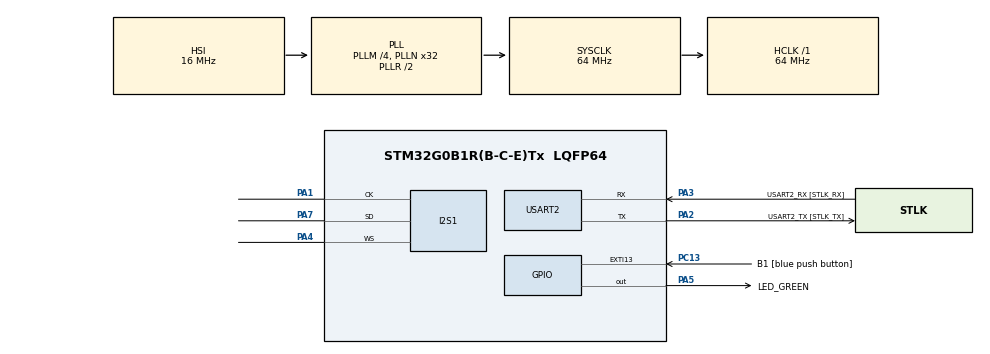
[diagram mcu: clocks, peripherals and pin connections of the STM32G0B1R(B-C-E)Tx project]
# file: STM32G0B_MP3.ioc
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Dma.Request0=SPI1_TX
Dma.SPI1_TX.0.Direction=DMA_MEMORY_TO_PERIPH
Dma.SPI1_TX.0.EventEnable=DISABLE
Dma.SPI1_TX.0.Instance=DMA1_Channel1
Dma.SPI1_TX.0.MemDataAlignment=DMA_MDATAALIGN_HALFWORD
Dma.SPI1_TX.0.MemInc=DMA_MINC_ENABLE
Dma.SPI1_TX.0.Mode=DMA_NORMAL
Dma.SPI1_TX.0.PeriphDataAlignment=DMA_PDATAALIGN_HALFWORD
Dma.SPI1_TX.0.PeriphInc=DMA_PINC_DISABLE
Dma.SPI1_TX.0.Polarity=HAL_DMAMUX_REQ_GEN_RISING
Dma.SPI1_TX.0.Priority=DMA_PRIORITY_MEDIUM
Dma.SPI1_TX.0.RequestNumber=1
Dma.SPI1_TX.0.SignalID=NONE
Dma.SPI1_TX.0.SyncEnable=DISABLE
Dma.SPI1_TX.0.SyncPolarity=HAL_DMAMUX_SYNC_NO_EVENT
Dma.SPI1_TX.0.SyncRequestNumber=1
Dma.SPI1_TX.0.SyncSignalID=NONE
I2S1.AudioFreq=I2S_AUDIOFREQ_44K
I2S1.ErrorAudioFreq=-0.1 %
I2S1.FullDuplexMode=I2S_FULLDUPLEXMODE_DISABLE
I2S1.Instance=SPI$Index
I2S1.RealAudioFreq=43.956 KHz
I2S1.VirtualMode=I2S_MODE_MASTER
Mcu.Family=STM32G0
Mcu.Name=STM32G0B1R(B-C-E)Tx
Mcu.Package=LQFP64
NVIC.DMA1_Channel1_IRQn=true\:0\:0\:false\:false\:true\:false\:true\:true
NVIC.SPI1_IRQn=true\:0\:0\:false\:false\:true\:true\:true\:true
PA1.Mode=Half_Duplex_Master
PA1.Signal=I2S1_CK
PA13.GPIO_Label=TMS
PA13.Mode=Serial_Wire
PA13.Signal=SYS_SWDIO
PA14-BOOT0.GPIO_Label=TCK
PA14-BOOT0.Mode=Serial_Wire
PA14-BOOT0.Signal=SYS_SWCLK
PA2.GPIO_Label=USART2_TX [STLK_TX]
PA2.Mode=Asynchronous
PA2.Signal=USART2_TX
PA3.GPIO_Label=USART2_RX [STLK_RX]
PA3.Mode=Asynchronous
PA3.Signal=USART2_RX
PA4.Mode=Half_Duplex_Master
PA4.Signal=I2S1_WS
PA5.GPIO_Label=LED_GREEN
PA5.GPIO_Speed=GPIO_SPEED_FREQ_HIGH
PA5.Signal=GPIO_Output
PA7.Mode=Half_Duplex_Master
PA7.Signal=I2S1_SD
PC13.GPIO_Label=B1 [blue push button]
PC13.Signal=GPXTI13
PC14-OSC32_IN\ (PC14).Mode=LSE-External-Oscillator
PC14-OSC32_IN\ (PC14).Signal=RCC_OSC32_IN
PC15-OSC32_OUT\ (PC15).Mode=LSE-External-Oscillator
PC15-OSC32_OUT\ (PC15).Signal=RCC_OSC32_OUT
PF0-OSC_IN\ (PF0).GPIO_Label=MCO
PF0-OSC_IN\ (PF0).Mode=HSE-External-Clock-Source
PF0-OSC_IN\ (PF0).Signal=RCC_OSC_IN
ProjectManager.HeapSize=0x200
ProjectManager.StackSize=0x400
ProjectManager.TargetToolchain=STM32CubeIDE
RCC.ADCFreq_Value=64000000
RCC.AHBFreq_Value=64000000
RCC.CortexFreq_Value=64000000
RCC.EXTERNAL_CLOCK_VALUE=12288000
RCC.HCLKFreq_Value=64000000
RCC.HSE_VALUE=8000000
RCC.HSI48_VALUE=48000000
RCC.HSI_VALUE=16000000
RCC.I2S1CLockSelection=RCC_I2S1CLKSOURCE_PLL
RCC.PLLM=RCC_PLLM_DIV4
RCC.PLLN=32
RCC.PLLP=RCC_PLLP_DIV13
RCC.SYSCLKFreq_VALUE=64000000
RCC.SYSCLKSource=RCC_SYSCLKSOURCE_PLLCLK
RCC.USBFreq_Value=48000000
RCC.VCOOutputFreq_Value=128000000
TIM1.AutoReloadPreload=TIM_AUTORELOAD_PRELOAD_ENABLE
TIM1.Prescaler=64-1
USART2.VirtualMode-Asynchronous=VM_ASYNC
VP_SYS_VS_DBSignals.Mode=DisableDeadBatterySignals
VP_TIM1_VS_ClockSourceINT.Mode=Internal
board=NUCLEO-G0B1RE

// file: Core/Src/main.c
/* USER CODE BEGIN Header */
/**
  ******************************************************************************
  * @file           : main.c
  * @brief          : Main program body
  ******************************************************************************
  * @attention
  *
  * Copyright (c) 2025 STMicroelectronics.
  * All rights reserved.
  *
  * This software is licensed under terms that can be found in the LICENSE file
  * in the root directory of this software component.
  * If no LICENSE file comes with this software, it is provided AS-IS.
  *
  ******************************************************************************
  */
/* USER CODE END Header */
#include "main.h"

/* USER CODE BEGIN Includes */
#include "mp3_player.h"
/* USER CODE END Includes */

/* USER CODE BEGIN PD */
#define CPU_USAGE_SAMPLES 3
#define CPU_USAGE_INTERVAL_MS 5000
/* USER CODE END PD */

I2S_HandleTypeDef hi2s1;
DMA_HandleTypeDef hdma_spi1_tx;

TIM_HandleTypeDef htim1;

UART_HandleTypeDef huart2;

/* USER CODE BEGIN PV */
volatile uint32_t totalTimerCnt = 0;
volatile uint16_t lastCnt = 0;

volatile uint16_t isrCnt = 0;
volatile uint32_t isrTimerCnt = 0;

uint32_t cpuUsage[CPU_USAGE_SAMPLES];
uint32_t cpuUsageSampleCounter = 0;
uint32_t cpuUsageLastTick = 0;
/* USER CODE END PV */

void SystemClock_Config(void);
static void MX_GPIO_Init(void);
static void MX_DMA_Init(void);
static void MX_USART2_UART_Init(void);
static void MX_I2S1_Init(void);
static void MX_TIM1_Init(void);

int main(void)
{

  /* MCU Configuration--------------------------------------------------------*/

  /* Reset of all peripherals, Initializes the Flash interface and the Systick. */
  HAL_Init();

  /* Configure the system clock */
  SystemClock_Config();

  /* USER CODE BEGIN SysInit */
  SysTick_Config(SystemCoreClock / 1000);
  /* USER CODE END SysInit */

  /* Initialize all configured peripherals */
  MX_GPIO_Init();
  MX_DMA_Init();
  MX_USART2_UART_Init();
  MX_I2S1_Init();
  MX_TIM1_Init();
  /* USER CODE BEGIN 2 */
  HAL_TIM_Base_Start(&htim1);

  mp3_player_init(&hi2s1);
  mp3_player_start();
  /* USER CODE END 2 */

  /* Infinite loop */
  /* USER CODE BEGIN WHILE */
  while (1)
  {
	HAL_Delay(5);
	const volatile uint16_t cnt = (uint16_t)htim1.Instance->CNT;
	totalTimerCnt += (uint16_t)(cnt - lastCnt);
	lastCnt = cnt;

	const uint32_t tick = HAL_GetTick();
	if (tick > cpuUsageLastTick + CPU_USAGE_INTERVAL_MS) {
		cpuUsageLastTick = tick;

		if (cpuUsageSampleCounter < CPU_USAGE_SAMPLES) {
			cpuUsage[cpuUsageSampleCounter] = (isrTimerCnt * 100) / totalTimerCnt;
			cpuUsageSampleCounter++;
		}
		else {
			__NOP();
		}
	}
    /* USER CODE END WHILE */

  }
}

void SystemClock_Config(void)
{
  RCC_OscInitTypeDef RCC_OscInitStruct = {0};
  RCC_ClkInitTypeDef RCC_ClkInitStruct = {0};

  /** Configure the main internal regulator output voltage
  */
  HAL_PWREx_ControlVoltageScaling(PWR_REGULATOR_VOLTAGE_SCALE1);

  /** Initializes the RCC Oscillators according to the specified parameters
  * in the RCC_OscInitTypeDef structure.
  */
  RCC_OscInitStruct.OscillatorType = RCC_OSCILLATORTYPE_HSI;
  RCC_OscInitStruct.HSIState = RCC_HSI_ON;
  RCC_OscInitStruct.HSIDiv = RCC_HSI_DIV1;
  RCC_OscInitStruct.HSICalibrationValue = RCC_HSICALIBRATION_DEFAULT;
  RCC_OscInitStruct.PLL.PLLState = RCC_PLL_ON;
  RCC_OscInitStruct.PLL.PLLSource = RCC_PLLSOURCE_HSI;
  RCC_OscInitStruct.PLL.PLLM = RCC_PLLM_DIV4;
  RCC_OscInitStruct.PLL.PLLN = 32;
  RCC_OscInitStruct.PLL.PLLP = RCC_PLLP_DIV13;
  RCC_OscInitStruct.PLL.PLLQ = RCC_PLLQ_DIV2;
  RCC_OscInitStruct.PLL.PLLR = RCC_PLLR_DIV2;
  if (HAL_RCC_OscConfig(&RCC_OscInitStruct) != HAL_OK)
  {
    Error_Handler();
  }

  /** Initializes the CPU, AHB and APB buses clocks
  */
  RCC_ClkInitStruct.ClockType = RCC_CLOCKTYPE_HCLK|RCC_CLOCKTYPE_SYSCLK
                              |RCC_CLOCKTYPE_PCLK1;
  RCC_ClkInitStruct.SYSCLKSource = RCC_SYSCLKSOURCE_PLLCLK;
  RCC_ClkInitStruct.AHBCLKDivider = RCC_SYSCLK_DIV1;
  RCC_ClkInitStruct.APB1CLKDivider = RCC_HCLK_DIV1;

  if (HAL_RCC_ClockConfig(&RCC_ClkInitStruct, FLASH_LATENCY_2) != HAL_OK)
  {
    Error_Handler();
  }
}

static void MX_I2S1_Init(void)
{

  hi2s1.Instance = SPI1;
  hi2s1.Init.Mode = I2S_MODE_MASTER_TX;
  hi2s1.Init.Standard = I2S_STANDARD_PHILIPS;
  hi2s1.Init.DataFormat = I2S_DATAFORMAT_16B;
  hi2s1.Init.MCLKOutput = I2S_MCLKOUTPUT_DISABLE;
  hi2s1.Init.AudioFreq = I2S_AUDIOFREQ_44K;
  hi2s1.Init.CPOL = I2S_CPOL_LOW;
  if (HAL_I2S_Init(&hi2s1) != HAL_OK)
  {
    Error_Handler();
  }

}

static void MX_TIM1_Init(void)
{

  TIM_ClockConfigTypeDef sClockSourceConfig = {0};
  TIM_MasterConfigTypeDef sMasterConfig = {0};

  htim1.Instance = TIM1;
  htim1.Init.Prescaler = 6400-1;
  htim1.Init.CounterMode = TIM_COUNTERMODE_UP;
  htim1.Init.Period = 65535;
  htim1.Init.ClockDivision = TIM_CLOCKDIVISION_DIV1;
  htim1.Init.RepetitionCounter = 0;
  htim1.Init.AutoReloadPreload = TIM_AUTORELOAD_PRELOAD_ENABLE;
  if (HAL_TIM_Base_Init(&htim1) != HAL_OK)
  {
    Error_Handler();
  }
  sClockSourceConfig.ClockSource = TIM_CLOCKSOURCE_INTERNAL;
  if (HAL_TIM_ConfigClockSource(&htim1, &sClockSourceConfig) != HAL_OK)
  {
    Error_Handler();
  }
  sMasterConfig.MasterOutputTrigger = TIM_TRGO_RESET;
  sMasterConfig.MasterOutputTrigger2 = TIM_TRGO2_RESET;
  sMasterConfig.MasterSlaveMode = TIM_MASTERSLAVEMODE_DISABLE;
  if (HAL_TIMEx_MasterConfigSynchronization(&htim1, &sMasterConfig) != HAL_OK)
  {
    Error_Handler();
  }

}

static void MX_USART2_UART_Init(void)
{

  huart2.Instance = USART2;
  huart2.Init.BaudRate = 115200;
  huart2.Init.WordLength = UART_WORDLENGTH_8B;
  huart2.Init.StopBits = UART_STOPBITS_1;
  huart2.Init.Parity = UART_PARITY_NONE;
  huart2.Init.Mode = UART_MODE_TX_RX;
  huart2.Init.HwFlowCtl = UART_HWCONTROL_NONE;
  huart2.Init.OverSampling = UART_OVERSAMPLING_16;
  huart2.Init.OneBitSampling = UART_ONE_BIT_SAMPLE_DISABLE;
  huart2.Init.ClockPrescaler = UART_PRESCALER_DIV1;
  huart2.AdvancedInit.AdvFeatureInit = UART_ADVFEATURE_NO_INIT;
  if (HAL_UART_Init(&huart2) != HAL_OK)
  {
    Error_Handler();
  }
  if (HAL_UARTEx_SetTxFifoThreshold(&huart2, UART_TXFIFO_THRESHOLD_1_8) != HAL_OK)
  {
    Error_Handler();
  }
  if (HAL_UARTEx_SetRxFifoThreshold(&huart2, UART_RXFIFO_THRESHOLD_1_8) != HAL_OK)
  {
    Error_Handler();
  }
  if (HAL_UARTEx_DisableFifoMode(&huart2) != HAL_OK)
  {
    Error_Handler();
  }

}

static void MX_DMA_Init(void)
{

  /* DMA controller clock enable */
  __HAL_RCC_DMA1_CLK_ENABLE();

  /* DMA interrupt init */
  /* DMA1_Channel1_IRQn interrupt configuration */
  HAL_NVIC_SetPriority(DMA1_Channel1_IRQn, 0, 0);
  HAL_NVIC_EnableIRQ(DMA1_Channel1_IRQn);

}

static void MX_GPIO_Init(void)
{
  GPIO_InitTypeDef GPIO_InitStruct = {0};

  /* GPIO Ports Clock Enable */
  __HAL_RCC_GPIOC_CLK_ENABLE();
  __HAL_RCC_GPIOF_CLK_ENABLE();
  __HAL_RCC_GPIOA_CLK_ENABLE();

  /*Configure GPIO pin Output Level */
  HAL_GPIO_WritePin(LED_GREEN_GPIO_Port, LED_GREEN_Pin, GPIO_PIN_RESET);

  /*Configure GPIO pin : B1_Pin */
  GPIO_InitStruct.Pin = B1_Pin;
  GPIO_InitStruct.Mode = GPIO_MODE_IT_RISING;
  GPIO_InitStruct.Pull = GPIO_NOPULL;
  HAL_GPIO_Init(B1_GPIO_Port, &GPIO_InitStruct);

  /*Configure GPIO pin : LED_GREEN_Pin */
  GPIO_InitStruct.Pin = LED_GREEN_Pin;
  GPIO_InitStruct.Mode = GPIO_MODE_OUTPUT_PP;
  GPIO_InitStruct.Pull = GPIO_NOPULL;
  GPIO_InitStruct.Speed = GPIO_SPEED_FREQ_HIGH;
  HAL_GPIO_Init(LED_GREEN_GPIO_Port, &GPIO_InitStruct);

}

/* USER CODE BEGIN 4 */
void HAL_I2S_TxCpltCallback(I2S_HandleTypeDef *hi2s)
{
	isrCnt = (uint16_t)htim1.Instance->CNT;
	mp3_player_end_stream_callback();
	isrTimerCnt += (uint16_t)(htim1.Instance->CNT - isrCnt);
}

/* USER CODE END 4 */

void Error_Handler(void)
{
  __disable_irq();
  while (1)
  {
  }
}
